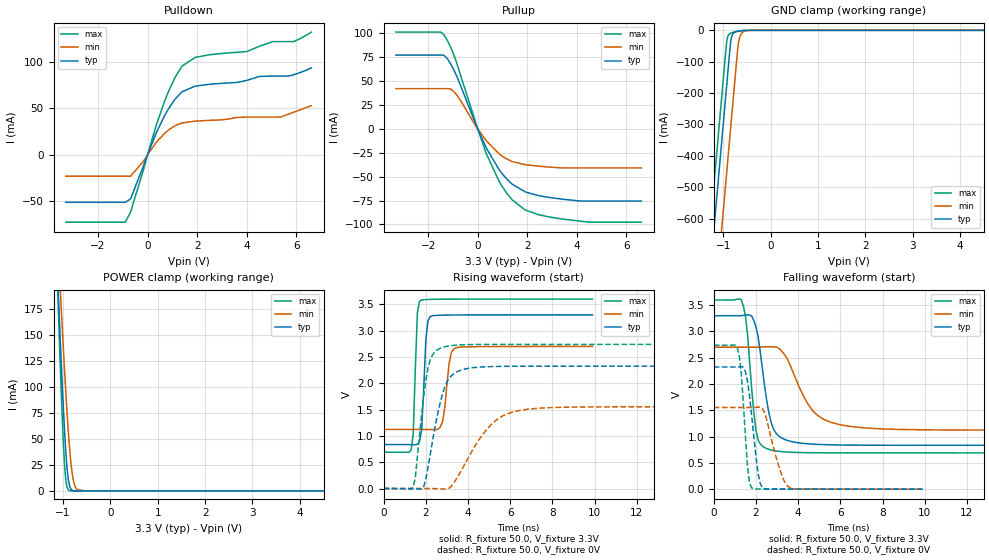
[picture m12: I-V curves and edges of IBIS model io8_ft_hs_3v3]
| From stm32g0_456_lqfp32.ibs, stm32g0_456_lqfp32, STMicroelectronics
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[Model]   io8_ft_hs_3v3
Model_type I/O
Polarity   Non-Inverting
Enable   Active-Low
| CAP_THRESHOLD on pad IOFT is "UDTCAPC" :
| Rising=30.00f vddiom   Falling=70.00f vddiom
| C_comp min and max val. don't necessarily correlate with the min and max pvt
| but are the smallest and greatest pad capacitance found.
| var   typ   min   max
C_comp   2.21487pF  2.18664pF  2.96105pF
|C_comp_pullup   1.17157pF  1.24175pF  1.62373pF
|C_comp_pulldown   1.04330pF  944.88729fF  1.33732pF
Vinl = 810.0mV
Vinh = 2.52V
Vmeas = 1.65V   | Reference voltage for timing measurements
Cref  = 50.0pF   | Timing specification test load capacitance value
Rref  = 100.0MOhm   | Timing specification test load resistance value
Vref  = 1.65V   | Timing specification test load voltage
[Model Spec]
| TIME_THRESHOLD on pin ZIV12 is "CMOS" :
| Rising=50.00f vdd   Falling=50.00f vdd
Vinl 1.34770V 1.11470V 1.44970V
Vinh 1.77530V 1.49030V 1.90330V
| variable   typ   min   max
[Temperature Range] 25.0 140.0 -40.0
| variable   typ   min   max
[Voltage Range] 3.3V 2.7V 3.6V
| variable   typ   min   max
[POWER Clamp Reference] 3.3V 2.7V 3.6V
| variable   typ   min   max
[GND Clamp Reference] 0V 0V 0V
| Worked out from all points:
|   slope of the pulldown table from 0 to 0.495 V, typ, clamps not added: 15.6 ohm
|   slope of the pullup table from 0 to 0.495 V, typ, clamps not added: 18.7 ohm
|   GND clamp passes 1 mA (typ) near -0.60 V on its own axis
|   POWER clamp passes 1 mA (typ) near -0.81 V on its own axis
|   rising waveform, R_fixture 50.0, V_fixture 3.3V: 20-80 % time 171ps typ, 248ps min, 150ps max; typ from 0.835 V to 3.3 V
|   falling waveform, R_fixture 50.0, V_fixture 3.3V: 20-80 % time 549ps typ, 1.23ns min, 374ps max; typ from 3.3 V to 0.835 V
|   rising waveform, R_fixture 50.0, V_fixture 0V: 20-80 % time 714ps typ, 1.53ns min, 476ps max; typ from 0 V to 2.33 V
|   falling waveform, R_fixture 50.0, V_fixture 0V: 20-80 % time 384ps typ, 630ps min, 273ps max; typ from 2.33 V to 0 V
[POWER Clamp]
-3.3V     2.991A     2.546A     3.694A
-1.11V    202.2mA    242.3mA    190.9mA
-1.09V    180mA      223.6mA    163.4mA
-1.05V    136.9mA    187mA      110.9mA
-1.01V    96.55mA    151.6mA    64.02mA
-970mV    60.39mA    117.9mA    27.41mA
-930mV    31.08mA    86.54mA    7.282mA
-860mV    4.779mA    40.5mA     315.2uA
-810mV    823.2uA    18.15mA    29.21uA
-750mV    88.98uA    4.952mA    1.667uA
-510mV    11.25nA    8.405uA    51.8pA
6.6V      0A         0A         0A
[GND Clamp]
-3.3V     -4.209A    -4.487A    -4.067A
-1.41V    -996.3mA   -1.274A    -854.3mA
-1.25V    -724.3mA   -1.002A    -582.3mA
-1.21V    -656.3mA   -933.6mA   -514.3mA
-930mV    -180.3mA   -457.6mA   -39.53mA
-900mV    -129.3mA   -406.6mA   -18.05mA
-840mV    -33.79mA   -304.6mA   -9.105mA
-790mV    -10.15mA   -219.6mA   -6.665mA
-680mV    -2.476mA   -41.57mA   -2.768mA
-630mV    -1.406mA   -13.77mA   -1.51mA
-530mV    -268.4uA   -1.762mA   -214.9uA
6.6V      833.9pA    196.4nA    597.5pA
| variable   typ   min   max
[Pullup Reference] 3.3V 2.7V 3.6V
| variable   typ   min   max
[Pulldown Reference] 0V 0V 0V
[Pullup]
-3.3V     77.35mA    42.24mA    101.4mA
-1.51V    77.35mA    42.24mA    101.4mA
-1.34V    76.54mA    42.24mA    97.42mA
-1.1V     68.45mA    41.76mA    85.85mA
-870mV    56.55mA    36.27mA    70.84mA
350mV     -20.12mA   -12.47mA   -26.09mA
860mV     -42.5mA    -25.9mA    -54.7mA
1.39V     -57.81mA   -34.14mA   -74.25mA
1.92V     -65.96mA   -37.41mA   -84.89mA
2.96V     -71.97mA   -40.03mA   -92.43mA
4.54V     -75.45mA   -40.79mA   -97.6mA
6.6V      -75.45mA   -40.79mA   -97.6mA
[Pulldown]
-3.3V     -51.64mA   -23.39mA   -73.18mA
-900mV    -51.64mA   -23.39mA   -73.04mA
-690mV    -47.97mA   -23.39mA   -62.4mA
350mV     23.63mA    13.27mA    31.99mA
690mV     42.49mA    23.17mA    58.21mA
1.12V     60.48mA    31.51mA    84.25mA
1.39V     68.1mA     34.34mA    95.86mA
1.92V     74.17mA    36.28mA    105.3mA
4V        80.41mA    40.64mA    111.6mA
5.39V     85.07mA    40.9mA     122.4mA
5.88V     86.5mA     45.8mA     122.4mA
6.6V      93.9mA     53mA       132.7mA
[Ramp]
dV/dt_r 1.39485V/710.6362ps 931.93155mV/1.53332ns 1.64323V/471.61496ps
dV/dt_f 1.47909V/543.0213ps 946.45147mV/1.22574ns 1.74617V/364.2076ps
R_load = 50.0
| Removed startup time: 0s 0s 0s  .
| Removed end time: 9.9ns.
[Rising Waveform]
R_fixture   = 50.0
V_fixture   = 3.3V
V_fixture_min = 2.7V
V_fixture_max = 3.6V
0s        834.8mV    1.123V     689.8mV
1.3ns     834.5mV    1.123V     730.3mV
1.4ns     834.1mV    1.123V     1.027V
1.6ns     838.8mV    1.123V     3.345V
1.7ns     893.4mV    1.123V     3.558V
2ns       2.824V     1.122V     3.591V
2.2ns     3.264V     1.121V     3.594V
2.8ns     3.294V     1.284V     3.598V
3.4ns     3.297V     2.67V      3.599V
9.9ns     3.3V       2.7V       3.6V
| Removed startup time: 0s 0s 0s  .
| Removed end time: 19.9ns.
[Falling Waveform]
R_fixture   = 50.0
V_fixture   = 3.3V
V_fixture_min = 2.7V
V_fixture_max = 3.6V
0s        3.3V       2.7V       3.6V
1.3ns     3.3V       2.7V       3.608V
1.6ns     3.315V     2.7V       2.945V
2ns       3.087V     2.7V       1.115V
2.6ns     1.481V     2.711V     758.7mV
2.9ns     1.093V     2.707V     730.4mV
3.3ns     958.1mV    2.589V     710.9mV
4.6ns     858.6mV    1.542V     693.1mV
5.9ns     840.3mV    1.234V     690.4mV
19.9ns    834.9mV    1.123V     689.8mV
| Removed startup time: 0s 0s 0s  .
| Removed end time: 19.9ns.
[Rising Waveform]
R_fixture   = 50.0
V_fixture   = 0V
V_fixture_min = 0V
V_fixture_max = 0V
0s        -11.66uV   -15.19uV   -4.074uV
1.4ns     305.9uV    210.4nV    28.85mV
1.5ns     -1.922mV   715.8nV    202mV
1.9ns     37.18mV    31.86uV    1.754V
2.1ns     396.8mV    98.36uV    2.282V
2.8ns     1.807V     -10.85mV   2.683V
3.6ns     2.241V     283.8mV    2.729V
5ns       2.316V     1.173V     2.738V
6.3ns     2.324V     1.47V      2.739V
19.9ns    2.325V     1.553V     2.739V
| Removed startup time: 0s 0s 0s  .
| Removed end time: 9.9ns.
[Falling Waveform]
R_fixture   = 50.0
V_fixture   = 0V
V_fixture_min = 0V
V_fixture_max = 0V
0s        2.325V     1.553V     2.739V
1.1ns     2.325V     1.553V     2.711V
1.3ns     2.33V      1.553V     2.226V
1.5ns     2.237V     1.553V     1.005V
1.6ns     2.054V     1.553V     422.8mV
1.8ns     1.386V     1.553V     21.65mV
2.1ns     300.6mV    1.56V      3.581mV
2.4ns     9.714mV    1.466V     2.303mV
3.6ns     1.358mV    29.89mV    659.1uV
9.9ns     23.5uV     100.6uV    9.443uV
